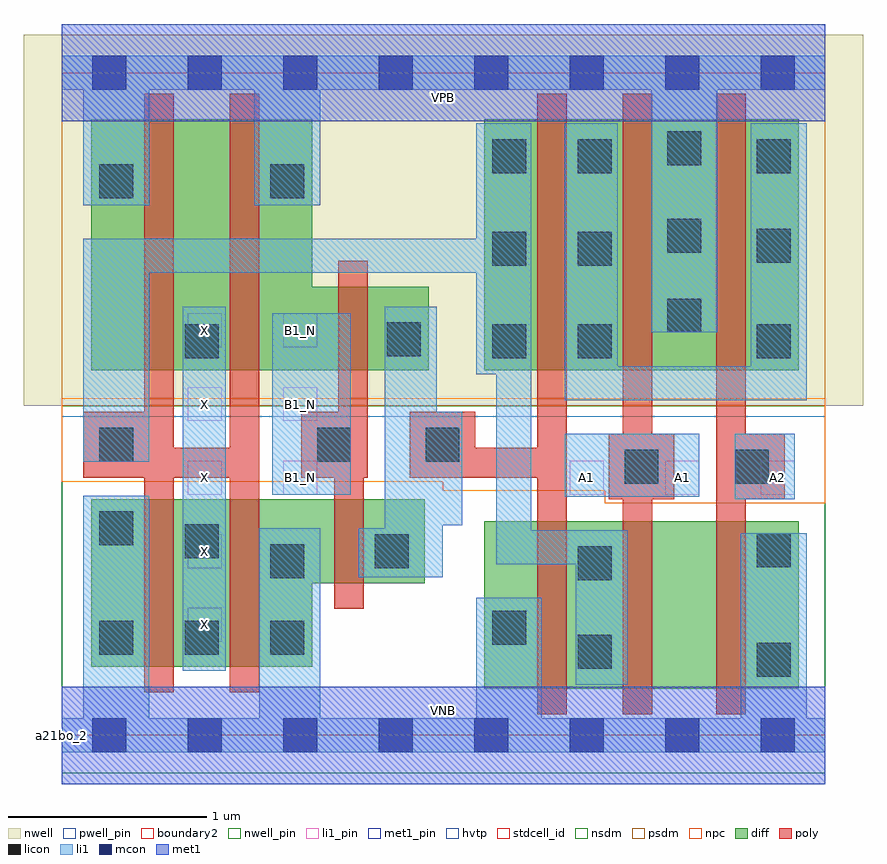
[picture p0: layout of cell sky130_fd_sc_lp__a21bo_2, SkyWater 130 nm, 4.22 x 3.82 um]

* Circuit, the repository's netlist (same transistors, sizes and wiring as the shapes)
* Copyright 2020 The SkyWater PDK Authors
*
* Licensed under the Apache License, Version 2.0 (the "License");
* you may not use this file except in compliance with the License.
* You may obtain a copy of the License at
*
*     https://www.apache.org/licenses/LICENSE-2.0
*
* Unless required by applicable law or agreed to in writing, software
* distributed under the License is distributed on an "AS IS" BASIS,
* WITHOUT WARRANTIES OR CONDITIONS OF ANY KIND, either express or implied.
* See the License for the specific language governing permissions and
* limitations under the License.
*
* SPDX-License-Identifier: Apache-2.0

.SUBCKT sky130_fd_sc_lp__a21bo_2 A1 A2 B1_N VGND VNB VPB VPWR X
*.PININFO A1:I A2:I B1_N:I VGND:I VNB:I VPB:I VPWR:I X:O
MMPA0 pndA A1 VPWR VPB sky130_fd_pr__pfet_01v8_hvt m=1 w=1.26U l=0.15U mult=1 sa=0.265
+ sb=0.265 sd=0.28 area=0.063 perim=1.14
MMPA1 pndA A2 VPWR VPB sky130_fd_pr__pfet_01v8_hvt m=1 w=1.26U l=0.15U mult=1 sa=0.265
+ sb=0.265 sd=0.28 area=0.063 perim=1.14
MMPB0 y B1 pndA VPB sky130_fd_pr__pfet_01v8_hvt m=1 w=1.26U l=0.15U mult=1 sa=0.265
+ sb=0.265 sd=0.28 area=0.063 perim=1.14
MMIPB1N B1 B1_N VPWR VPB sky130_fd_pr__pfet_01v8_hvt m=1 w=0.42U l=0.15U mult=1
+ sa=0.265 sb=0.265 sd=0.28 area=0.063 perim=1.14
MMIPX X y VPWR VPB sky130_fd_pr__pfet_01v8_hvt m=2 w=1.26U l=0.15U mult=1 sa=0.265
+ sb=0.265 sd=0.28 area=0.063 perim=1.14
MMNA0 y A1 sndA1 VNB sky130_fd_pr__nfet_01v8 m=1 w=0.84U l=0.15U mult=1 sa=0.265
+ sb=0.265 sd=0.28 area=0.063 perim=1.14
MMNA1 sndA1 A2 VGND VNB sky130_fd_pr__nfet_01v8 m=1 w=0.84U l=0.15U mult=1 sa=0.265
+ sb=0.265 sd=0.28 area=0.063 perim=1.14
MMNB0 y B1 VGND VNB sky130_fd_pr__nfet_01v8 m=1 w=0.84U l=0.15U mult=1 sa=0.265
+ sb=0.265 sd=0.28 area=0.063 perim=1.14
MMINB1N B1 B1_N VGND VNB sky130_fd_pr__nfet_01v8 m=1 w=0.42U l=0.15U mult=1 sa=0.265
+ sb=0.265 sd=0.28 area=0.063 perim=1.14
MMINX X y VGND VNB sky130_fd_pr__nfet_01v8 m=2 w=0.84U l=0.15U mult=1 sa=0.265
+ sb=0.265 sd=0.28 area=0.063 perim=1.14
.ENDS sky130_fd_sc_lp__a21bo_2

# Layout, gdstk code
import gdstk
lib = gdstk.Library(unit=1e-6, precision=1e-09)
def R(c, l, rs):  # rectangles x0, y0, x1, y1
    for r in rs: c.add(gdstk.rectangle(r[:2], r[2:], *l))
def A(c, l, x, y, w, h, nx, ny, dx, dy):  # array of equal rectangles
    R(c, l, [(x+i*dx, y+j*dy, x+i*dx+w, y+j*dy+h) for i in range(nx) for j in range(ny)])
def P(c, l, *ps):  # polygons
    for p in ps: c.add(gdstk.Polygon(p, *l))
nwell_pin = (64, 16)
nwell = (64, 20)
diff = (65, 20)
poly = (66, 20)
licon = (66, 44)
li1_pin = (67, 16)
li1 = (67, 20)
mcon = (67, 44)
met1_pin = (68, 16)
met1 = (68, 20)
hvtp = (78, 44)
stdcell_id = (81, 4)
nsdm = (93, 44)
psdm = (94, 20)
npc = (95, 20)
pwell_pin = (122, 16)
boundary2 = (236, 0)

sky130_fd_sc_lp__a21bo_2 = lib.new_cell('sky130_fd_sc_lp__a21bo_2')
R(sky130_fd_sc_lp__a21bo_2, nwell_pin, [(0,3.085,3.84,3.33)])
R(sky130_fd_sc_lp__a21bo_2, nwell, [(-0.19,1.655,4.03,3.52)])
R(sky130_fd_sc_lp__a21bo_2, diff, [(2.125,0.235,3.705,1.075), (2.125,1.835,3.705,3.095)])
P(sky130_fd_sc_lp__a21bo_2, diff, [(1.825,1.185),(0.15,1.185),(0.15,0.345),(1.26,0.345),(1.26,0.765),(1.825,0.765)],
  [(1.845,2.255),(1.26,2.255),(1.26,3.095),(0.15,3.095),(0.15,1.835),(1.845,1.835)])
P(sky130_fd_sc_lp__a21bo_2, poly, [(0.995,3.225),(0.845,3.225),(0.845,1.445),(0.565,1.445),(0.565,3.225),(0.415,3.225),(0.415,1.625),(0.11,1.625),(0.11,1.295),(0.415,1.295),(0.415,0.215),(0.565,0.215),(0.565,1.295),(0.845,1.295),(0.845,0.215),(0.995,0.215)],
  [(1.54,2.385),(1.39,2.385),(1.39,1.625),(1.205,1.625),(1.205,1.295),(1.37,1.295),(1.37,0.635),(1.52,0.635),(1.52,1.295),(1.54,1.295)],
  [(2.54,3.225),(2.39,3.225),(2.39,1.445),(2.08,1.445),(2.08,1.625),(1.75,1.625),(1.75,1.295),(2.39,1.295),(2.39,0.105),(2.54,0.105)],
  [(3.08,1.515),(2.97,1.515),(2.97,3.225),(2.82,3.225),(2.82,1.515),(2.75,1.515),(2.75,1.185),(2.82,1.185),(2.82,0.105),(2.97,0.105),(2.97,1.185),(3.08,1.185)],
  [(3.635,1.515),(3.44,1.515),(3.44,3.225),(3.29,3.225),(3.29,0.105),(3.44,0.105),(3.44,1.185),(3.635,1.185)])
A(sky130_fd_sc_lp__a21bo_2, licon, 0.19, 0.405, 0.17, 0.17, 3, 1, 0.43, 0)
A(sky130_fd_sc_lp__a21bo_2, licon, 2.165, 1.895, 0.17, 0.17, 1, 3, 0, 0.465)
A(sky130_fd_sc_lp__a21bo_2, licon, 2.595, 1.895, 0.17, 0.17, 1, 3, 0, 0.465)
R(sky130_fd_sc_lp__a21bo_2, licon, [(3.495,0.295,3.665,0.465), (2.595,0.335,2.765,0.505), (2.165,0.455,2.335,0.625), (2.595,0.78,2.765,0.95), (1.05,0.79,1.22,0.96), (1.575,0.84,1.745,1.01), (3.495,0.845,3.665,1.015), (0.62,0.89,0.79,1.06), (0.19,0.955,0.36,1.125), (2.83,1.265,3,1.435), (3.385,1.265,3.555,1.435), (0.19,1.375,0.36,1.545), (1.285,1.375,1.455,1.545), (1.83,1.375,2,1.545), (0.62,1.895,0.79,2.065), (3.495,1.895,3.665,2.065), (1.635,1.905,1.805,2.075), (3.045,2.025,3.215,2.195), (3.495,2.375,3.665,2.545), (3.045,2.425,3.215,2.595), (0.19,2.7,0.36,2.87), (1.05,2.7,1.22,2.87), (3.495,2.825,3.665,2.995), (3.045,2.865,3.215,3.035)])
A(sky130_fd_sc_lp__a21bo_2, li1_pin, 0.635, 0.47, 0.17, 0.17, 1, 5, 0, 0.37)
A(sky130_fd_sc_lp__a21bo_2, li1_pin, 1.115, 1.21, 0.17, 0.17, 1, 3, 0, 0.37)
A(sky130_fd_sc_lp__a21bo_2, li1_pin, 2.555, 1.21, 0.17, 0.17, 3, 1, 0.48, 0)
R(sky130_fd_sc_lp__a21bo_2, li1, [(0.61,0.325,0.825,2.155), (3.385,1.185,3.685,1.515), (2.53,1.2,3.205,1.515), (1.06,1.21,1.455,2.12)])
P(sky130_fd_sc_lp__a21bo_2, li1, [(0.97,2.665),(0.97,3.245),(0.44,3.245),(0.44,2.665),(0.11,2.665),(0.11,3.245),(0,3.245),(0,3.415),(3.84,3.415),(3.84,3.245),(3.295,3.245),(3.295,2.025),(2.965,2.025),(2.965,3.245),(1.3,3.245),(1.3,2.665)],
  [(3.415,0.085),(3.415,1.015),(3.745,1.015),(3.745,0.085),(3.84,0.085),(3.84,-0.085),(0,-0.085),(0,0.085),(0.11,0.085),(0.11,1.205),(0.44,1.205),(0.44,0.085),(0.995,0.085),(0.995,1.04),(1.3,1.04),(1.3,0.085),(2.085,0.085),(2.085,0.69),(2.415,0.69),(2.415,0.085)],
  [(2.085,2.495),(2.085,3.075),(2.36,3.075),(2.36,1.03),(2.845,1.03),(2.845,0.255),(2.585,0.255),(2.585,0.86),(2.185,0.86),(2.185,1.815),(2.085,1.815),(2.085,2.325),(0.44,2.325),(0.44,1.375),(0.11,1.375),(0.11,2.495)],
  [(2.015,1.625),(1.885,1.625),(1.885,2.155),(1.625,2.155),(1.625,1.04),(1.495,1.04),(1.495,0.795),(1.915,0.795),(1.915,1.055),(2.015,1.055)],
  [(2.795,1.855),(3.465,1.855),(3.465,3.075),(3.745,3.075),(3.745,1.685),(2.53,1.685),(2.53,3.075),(2.795,3.075)])
A(sky130_fd_sc_lp__a21bo_2, mcon, 0.155, -0.085, 0.17, 0.17, 8, 2, 0.48, 3.33)
R(sky130_fd_sc_lp__a21bo_2, met1_pin, [(0,0,3.84,0.245), (0,3.085,3.84,3.33)])
R(sky130_fd_sc_lp__a21bo_2, met1, [(0,-0.245,3.84,0.245), (0,3.085,3.84,3.575)])
R(sky130_fd_sc_lp__a21bo_2, hvtp, [(0,1.6,3.84,3.33)])
R(sky130_fd_sc_lp__a21bo_2, stdcell_id, [(0,0,3.84,3.33)])
R(sky130_fd_sc_lp__a21bo_2, nsdm, [(0,-0.19,3.84,1.655)])
R(sky130_fd_sc_lp__a21bo_2, psdm, [(0,1.655,3.84,3.52)])
P(sky130_fd_sc_lp__a21bo_2, npc, [(3.84,1.695),(0,1.695),(0,1.275),(1.915,1.275),(1.915,1.23),(2.73,1.23),(2.73,1.165),(3.84,1.165)])
R(sky130_fd_sc_lp__a21bo_2, pwell_pin, [(0,0,3.84,0.245)])
R(sky130_fd_sc_lp__a21bo_2, boundary2, [(0,0,3.84,3.33)])
sky130_fd_sc_lp__a21bo_2.add(gdstk.Label('VNB', (1.92,0.123), layer=64, texttype=59))
sky130_fd_sc_lp__a21bo_2.add(gdstk.Label('VPB', (1.92,3.208), layer=64, texttype=5))
sky130_fd_sc_lp__a21bo_2.add(gdstk.Label('a21bo_2', (0,0), layer=83, texttype=44))
sky130_fd_sc_lp__a21bo_2.add(gdstk.Label('VPWR', (1.92,3.208), layer=68, texttype=5))
sky130_fd_sc_lp__a21bo_2.add(gdstk.Label('VGND', (1.92,0.123), layer=68, texttype=5))
sky130_fd_sc_lp__a21bo_2.add(gdstk.Label('A1', (2.64,1.295), layer=67, texttype=5))
sky130_fd_sc_lp__a21bo_2.add(gdstk.Label('A1', (3.12,1.295), layer=67, texttype=5))
sky130_fd_sc_lp__a21bo_2.add(gdstk.Label('A2', (3.6,1.295), layer=67, texttype=5))
sky130_fd_sc_lp__a21bo_2.add(gdstk.Label('B1_N', (1.2,1.295), layer=67, texttype=5))
sky130_fd_sc_lp__a21bo_2.add(gdstk.Label('B1_N', (1.2,1.665), layer=67, texttype=5))
sky130_fd_sc_lp__a21bo_2.add(gdstk.Label('B1_N', (1.2,2.035), layer=67, texttype=5))
sky130_fd_sc_lp__a21bo_2.add(gdstk.Label('X', (0.72,0.555), layer=67, texttype=5))
sky130_fd_sc_lp__a21bo_2.add(gdstk.Label('X', (0.72,0.925), layer=67, texttype=5))
sky130_fd_sc_lp__a21bo_2.add(gdstk.Label('X', (0.72,1.295), layer=67, texttype=5))
sky130_fd_sc_lp__a21bo_2.add(gdstk.Label('X', (0.72,1.665), layer=67, texttype=5))
sky130_fd_sc_lp__a21bo_2.add(gdstk.Label('X', (0.72,2.035), layer=67, texttype=5))

lib.write_gds('sky130_fd_sc_lp__a21bo_2.gds')
